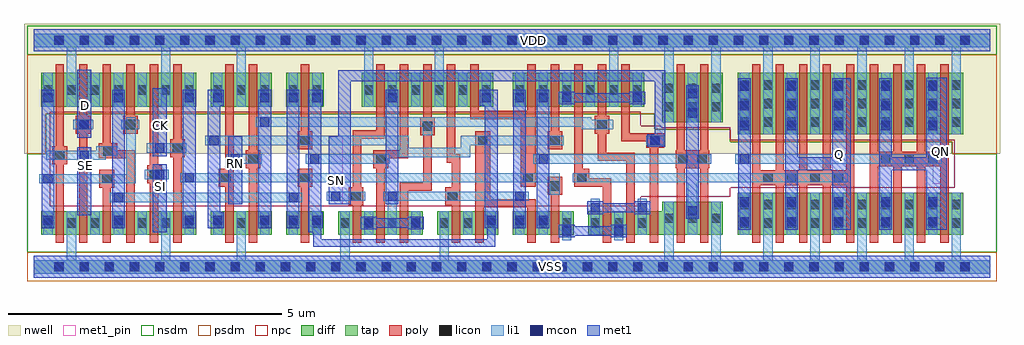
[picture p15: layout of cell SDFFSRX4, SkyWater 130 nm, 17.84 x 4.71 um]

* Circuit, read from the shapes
.subckt SDFFSRX4 CK D Q QN RN SE SI SN VDD VSS
XM1 VSS SE n1 VSS sky130_fd_pr__nfet_01v8 w=0.425 l=0.15
XM2 n2 D VSS VSS sky130_fd_pr__nfet_01v8 w=0.425 l=0.15
XM3 n3 n1 n2 VSS sky130_fd_pr__nfet_01v8 w=0.425 l=0.15
XM4 n4 SE n3 VSS sky130_fd_pr__nfet_01v8 w=0.425 l=0.15
XM5 VSS SI n4 VSS sky130_fd_pr__nfet_01v8 w=0.425 l=0.15
XM6 n5 CK VSS VSS sky130_fd_pr__nfet_01v8 w=0.425 l=0.15
XM7 VSS n5 n6 VSS sky130_fd_pr__nfet_01v8 w=0.425 l=0.15
XM8 n7 RN VSS VSS sky130_fd_pr__nfet_01v8 w=0.425 l=0.15
XM9 n8 n5 n3 VSS sky130_fd_pr__nfet_01v8 w=0.425 l=0.15
XM10 n9 SN VSS VSS sky130_fd_pr__nfet_01v8 w=0.425 l=0.15
XM11 n10 n8 n9 VSS sky130_fd_pr__nfet_01v8 w=0.425 l=0.15
XM12 n9 n7 n10 VSS sky130_fd_pr__nfet_01v8 w=0.425 l=0.15
XM13 n11 n10 VSS VSS sky130_fd_pr__nfet_01v8 w=0.425 l=0.15
XM14 n8 n6 n11 VSS sky130_fd_pr__nfet_01v8 w=0.425 l=0.15
XM15 n12 n6 n10 VSS sky130_fd_pr__nfet_01v8 w=0.425 l=0.15
XM16 n13 n5 n12 VSS sky130_fd_pr__nfet_01v8 w=0.425 l=0.15
XM17 n13 n14 n15 VSS sky130_fd_pr__nfet_01v8 w=0.425 l=0.15
XM18 n15 n7 n13 VSS sky130_fd_pr__nfet_01v8 w=0.425 l=0.15
XM19 VSS SN n15 VSS sky130_fd_pr__nfet_01v8 w=0.425 l=0.15
XM20 n14 n12 VSS VSS sky130_fd_pr__nfet_01v8 w=0.6 l=0.15 m=2
XM21 VSS n14 n16 VSS sky130_fd_pr__nfet_01v8 w=0.76 l=0.15
XM22 Q n14 VSS VSS sky130_fd_pr__nfet_01v8 w=0.76 l=0.15 m=4
XM23 QN n16 VSS VSS sky130_fd_pr__nfet_01v8 w=0.76 l=0.15 m=4
XM24 VDD SE n1 VDD sky130_fd_pr__pfet_01v8 w=0.625 l=0.15
XM25 n17 D VDD VDD sky130_fd_pr__pfet_01v8 w=0.625 l=0.15
XM26 n3 SE n17 VDD sky130_fd_pr__pfet_01v8 w=0.625 l=0.15
XM27 n18 n1 n3 VDD sky130_fd_pr__pfet_01v8 w=0.625 l=0.15
XM28 VDD SI n18 VDD sky130_fd_pr__pfet_01v8 w=0.625 l=0.15
XM29 n5 CK VDD VDD sky130_fd_pr__pfet_01v8 w=0.625 l=0.15
XM30 VDD n5 n6 VDD sky130_fd_pr__pfet_01v8 w=0.625 l=0.15
XM31 n7 RN VDD VDD sky130_fd_pr__pfet_01v8 w=0.625 l=0.15
XM32 n8 n6 n3 VDD sky130_fd_pr__pfet_01v8 w=0.625 l=0.15
XM33 n10 SN VDD VDD sky130_fd_pr__pfet_01v8 w=0.625 l=0.15
XM34 n19 n8 n10 VDD sky130_fd_pr__pfet_01v8 w=0.625 l=0.15
XM35 VDD n7 n19 VDD sky130_fd_pr__pfet_01v8 w=0.625 l=0.15
XM36 n20 n10 VDD VDD sky130_fd_pr__pfet_01v8 w=0.625 l=0.15
XM37 n8 n5 n20 VDD sky130_fd_pr__pfet_01v8 w=0.625 l=0.15
XM38 n12 n5 n10 VDD sky130_fd_pr__pfet_01v8 w=0.625 l=0.15
XM39 n21 n6 n12 VDD sky130_fd_pr__pfet_01v8 w=0.625 l=0.15
XM40 n22 n14 n21 VDD sky130_fd_pr__pfet_01v8 w=0.625 l=0.15
XM41 VDD n7 n22 VDD sky130_fd_pr__pfet_01v8 w=0.625 l=0.15
XM42 n21 SN VDD VDD sky130_fd_pr__pfet_01v8 w=0.625 l=0.15
XM43 n14 n12 VDD VDD sky130_fd_pr__pfet_01v8 w=0.905 l=0.15 m=2
XM44 VDD n14 n16 VDD sky130_fd_pr__pfet_01v8 w=1.13 l=0.15
XM45 Q n14 VDD VDD sky130_fd_pr__pfet_01v8 w=1.13 l=0.15 m=4
XM46 QN n16 VDD VDD sky130_fd_pr__pfet_01v8 w=1.13 l=0.15 m=4
.ends

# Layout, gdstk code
from math import pi, radians
import gdstk
lib = gdstk.Library(unit=1e-6, precision=1e-09)
def R(c, l, rs):  # rectangles x0, y0, x1, y1
    for r in rs: c.add(gdstk.rectangle(r[:2], r[2:], *l))
def A(c, l, x, y, w, h, nx, ny, dx, dy):  # array of equal rectangles
    R(c, l, [(x+i*dx, y+j*dy, x+i*dx+w, y+j*dy+h) for i in range(nx) for j in range(ny)])
def P(c, l, *ps):  # polygons
    for p in ps: c.add(gdstk.Polygon(p, *l))
nwell = (64, 20)
diff = (65, 20)
tap = (65, 44)
poly = (66, 20)
licon = (66, 44)
li1 = (67, 20)
mcon = (67, 44)
met1_pin = (68, 16)
met1 = (68, 20)
nsdm = (93, 44)
psdm = (94, 20)
npc = (95, 20)

pyl1con_c_cdns_758728262 = lib.new_cell('PYL1CON_C_CDNS_758728262102')
R(pyl1con_c_cdns_758728262, poly, [(-0.135,-0.165,0.135,0.165)])
R(pyl1con_c_cdns_758728262, licon, [(-0.085,-0.085,0.085,0.085)])
R(pyl1con_c_cdns_758728262, npc, [(-0.185,-0.185,0.185,0.185)])

l1m1_c_cdns_758728262101 = lib.new_cell('L1M1_C_CDNS_7587282621012')
R(l1m1_c_cdns_758728262101, li1, [(-0.085,-0.525,0.085,0.525)])
A(l1m1_c_cdns_758728262101, mcon, -0.085, -0.445, 0.17, 0.17, 1, 3, 0, 0.36)
R(l1m1_c_cdns_758728262101, met1, [(-0.115,-0.505,0.115,0.505)])

c_l1m1_c_cdns_758728262101 = lib.new_cell('L1M1_C_CDNS_758728262101')
R(c_l1m1_c_cdns_758728262101, li1, [(-0.085,-0.165,0.085,0.165)])
R(c_l1m1_c_cdns_758728262101, mcon, [(-0.085,-0.085,0.085,0.085)])
R(c_l1m1_c_cdns_758728262101, met1, [(-0.115,-0.145,0.115,0.145)])

l1m1_c_cdns_758728262104 = lib.new_cell('L1M1_C_CDNS_758728262104')
R(l1m1_c_cdns_758728262104, li1, [(-0.085,-0.345,0.085,0.345)])
R(l1m1_c_cdns_758728262104, mcon, [(-0.085,-0.265,0.085,-0.095), (-0.085,0.095,0.085,0.265)])
R(l1m1_c_cdns_758728262104, met1, [(-0.115,-0.325,0.115,0.325)])

l1m1_c_cdns_758728262100 = lib.new_cell('L1M1_C_CDNS_758728262100')
R(l1m1_c_cdns_758728262100, li1, [(-0.165,-0.085,0.165,0.085)])
R(l1m1_c_cdns_758728262100, mcon, [(-0.085,-0.085,0.085,0.085)])
R(l1m1_c_cdns_758728262100, met1, [(-0.115,-0.145,0.115,0.145)])

l1m1_c_cdns_758728262103 = lib.new_cell('L1M1_C_CDNS_758728262103')
R(l1m1_c_cdns_758728262103, li1, [(-0.085,-0.165,0.085,0.165)])
R(l1m1_c_cdns_758728262103, mcon, [(-0.085,-0.085,0.085,0.085)])
R(l1m1_c_cdns_758728262103, met1, [(-0.145,-0.115,0.145,0.115)])

c_pyl1con_c_cdns_758728262 = lib.new_cell('PYL1CON_C_CDNS_7587282621015')
R(c_pyl1con_c_cdns_758728262, poly, [(-0.165,-0.135,0.165,0.135)])
R(c_pyl1con_c_cdns_758728262, licon, [(-0.085,-0.085,0.085,0.085)])
R(c_pyl1con_c_cdns_758728262, npc, [(-0.185,-0.185,0.185,0.185)])

licondiff_c_cdns_7587282 = lib.new_cell('LICONDIFF_C_CDNS_7587282621010')
R(licondiff_c_cdns_7587282, diff, [(-0.125,-0.145,0.125,0.145)])
R(licondiff_c_cdns_7587282, licon, [(-0.085,-0.085,0.085,0.085), (-0.085,-0.085,0.085,0.085)])

sdffsrx4 = lib.new_cell('SDFFSRX4')
R(sdffsrx4, nwell, [(-0.18,2.07,17.66,4.445)])
R(sdffsrx4, diff, [(0.135,0.59,2.965,1.015), (3.235,0.59,4.345,1.015), (4.615,0.59,5.295,1.015), (5.565,0.59,7.105,1.015), (7.375,0.59,8.485,1.015), (8.755,0.59,9.865,1.015), (12.865,0.59,16.985,1.35), (12.865,2.42,16.985,3.55), (11.485,2.645,12.595,3.55), (0.135,2.925,2.965,3.55), (3.235,2.925,4.345,3.55), (4.615,2.925,5.295,3.55), (5.995,2.925,8.395,3.55), (8.755,2.925,11.155,3.55)])
P(sdffsrx4, diff, [(12.595,1.19),(11.485,1.19),(11.485,1.015),(10.135,1.015),(10.135,0.59),(12.595,0.59)])
A(sdffsrx4, poly, 13.13, 0.44, 0.15, 3.26, 9, 1, 0.43, 0)
R(sdffsrx4, poly, [(0.4,0.44,0.55,3.7), (0.83,0.44,0.98,3.7), (1.26,0.44,1.41,1.705), (2.12,0.44,2.27,3.7), (2.55,0.44,2.7,3.7), (3.5,0.44,3.65,3.7), (3.93,0.44,4.08,3.7), (4.88,0.44,5.03,1.795), (9.45,0.44,9.6,1.345), (9.45,2.145,9.6,3.7), (4.88,2.16,5.03,3.7), (1.69,2.475,1.84,3.7)])
P(sdffsrx4, poly, [(1.84,2.135),(1.41,2.135),(1.41,3.7),(1.26,3.7),(1.26,1.985),(1.69,1.985),(1.69,0.44),(1.84,0.44)],
  [(6.41,3.7),(6.26,3.7),(6.26,2.495),(5.83,2.495),(5.83,0.44),(5.98,0.44),(5.98,2.345),(6.41,2.345)],
  [(6.84,3.7),(6.69,3.7),(6.69,2.135),(6.26,2.135),(6.26,0.44),(6.41,0.44),(6.41,1.985),(6.84,1.985)],
  [(7.27,3.7),(7.12,3.7),(7.12,1.545),(6.69,1.545),(6.69,0.44),(6.84,0.44),(6.84,1.395),(7.27,1.395)],
  [(7.79,2.055),(7.7,2.055),(7.7,3.7),(7.55,3.7),(7.55,1.905),(7.64,1.905),(7.64,0.44),(7.79,0.44)],
  [(9.17,3.7),(9.02,3.7),(9.02,2.85),(8.13,2.85),(8.13,3.7),(7.98,3.7),(7.98,2.7),(8.9,2.7),(8.9,1.465),(9.17,1.465)],
  [(9.17,1.24),(8.34,1.24),(8.34,2.475),(8.07,2.475),(8.07,0.44),(8.22,0.44),(8.22,1.09),(9.02,1.09),(9.02,0.44),(9.17,0.44)],
  [(10.55,1.615),(10.03,1.615),(10.03,3.7),(9.88,3.7),(9.88,1.465),(10.4,1.465),(10.4,0.44),(10.55,0.44)],
  [(10.98,2.085),(10.46,2.085),(10.46,3.7),(10.31,3.7),(10.31,1.935),(10.83,1.935),(10.83,0.44),(10.98,0.44)],
  [(11.41,2.445),(10.89,2.445),(10.89,3.7),(10.74,3.7),(10.74,2.295),(11.26,2.295),(11.26,0.44),(11.41,0.44)],
  [(12.35,2.135),(12.33,2.135),(12.33,3.7),(12.18,3.7),(12.18,2.135),(11.9,2.135),(11.9,3.7),(11.75,3.7),(11.75,2.135),(11.73,2.135),(11.73,1.805),(11.75,1.805),(11.75,0.44),(11.9,0.44),(11.9,1.805),(12.18,1.805),(12.18,0.44),(12.33,0.44),(12.33,1.805),(12.35,1.805)])
A(sdffsrx4, licon, 0.375, -0.085, 0.17, 0.17, 37, 2, 0.46, 4.14)
A(sdffsrx4, licon, 0.605, 0.715, 0.17, 0.17, 3, 2, 0.86, 2.435)
A(sdffsrx4, licon, 3.275, 0.715, 0.17, 0.17, 3, 2, 0.43, 2.435)
A(sdffsrx4, licon, 5.605, 0.715, 0.17, 0.17, 4, 1, 0.43, 0)
A(sdffsrx4, licon, 8.795, 0.715, 0.17, 0.17, 3, 2, 0.43, 2.435)
A(sdffsrx4, licon, 10.175, 0.715, 0.17, 0.17, 3, 1, 0.43, 0)
A(sdffsrx4, licon, 12.905, 0.715, 0.17, 0.17, 10, 2, 0.43, 0.34)
A(sdffsrx4, licon, 11.525, 0.805, 0.17, 0.17, 3, 2, 0.43, 2.035)
A(sdffsrx4, licon, 12.905, 2.56, 0.17, 0.17, 10, 3, 0.43, 0.34)
A(sdffsrx4, licon, 6.465, 3.15, 0.17, 0.17, 3, 1, 0.86, 0)
A(sdffsrx4, licon, 11.525, 3.18, 0.17, 0.17, 3, 1, 0.43, 0)
R(sdffsrx4, licon, [(0.175,0.715,0.345,0.885), (2.755,0.715,2.925,0.885), (4.655,0.715,4.825,0.885), (5.085,0.715,5.255,0.885), (7.415,0.715,7.585,0.885), (8.275,0.715,8.445,0.885), (0.175,3.15,0.345,3.32), (2.755,3.15,2.925,3.32), (4.655,3.15,4.825,3.32), (5.085,3.15,5.255,3.32), (6.035,3.15,6.205,3.32), (10.515,3.15,10.685,3.32), (10.945,3.15,11.115,3.32)])
A(sdffsrx4, li1, 0.175, 0.59, 0.17, 0.425, 3, 1, 1.29, 0)
A(sdffsrx4, li1, 8.795, 0.59, 0.17, 0.425, 3, 1, 0.43, 0)
A(sdffsrx4, li1, 10.175, 0.59, 0.17, 0.425, 3, 1, 0.43, 0)
A(sdffsrx4, li1, 12.905, 0.59, 0.17, 0.76, 5, 1, 0.86, 0)
A(sdffsrx4, li1, 12.905, 2.42, 0.17, 1.13, 5, 1, 0.86, 0)
A(sdffsrx4, li1, 0.175, 2.925, 0.17, 0.625, 3, 1, 1.29, 0)
A(sdffsrx4, li1, 8.795, 2.925, 0.17, 0.625, 3, 1, 0.43, 0)
R(sdffsrx4, li1, [(3.275,0.59,3.445,1.015), (4.135,0.59,4.305,1.015), (4.655,0.59,4.825,1.015), (5.085,0.59,5.255,1.015), (6.035,0.59,6.205,1.015), (6.895,0.59,7.065,1.015), (8.275,0.59,8.445,1.015), (2.065,2.085,2.79,2.255), (11.955,2.645,12.125,3.55), (3.275,2.925,3.445,3.55), (4.135,2.925,4.305,3.55), (4.655,2.925,4.825,3.55), (5.085,2.925,5.255,3.55), (6.465,2.925,6.635,3.55), (8.185,2.925,8.355,3.55), (10.945,2.925,11.115,3.55)])
P(sdffsrx4, li1, [(1.52,2.205),(1.14,2.205),(1.14,2.125),(0.23,2.125),(0.23,1.955),(1.31,1.955),(1.31,2.035),(1.52,2.035)],
  [(1.93,2.685),(1.86,2.685),(1.86,2.735),(1.69,2.735),(1.69,2.685),(1.6,2.685),(1.6,2.515),(1.69,2.515),(1.69,1.695),(0.26,1.695),(0.26,1.525),(1.86,1.525),(1.86,2.515),(1.93,2.515)],
  [(9.045,1.375),(6.385,1.375),(6.385,1.205),(6.465,1.205),(6.465,0.59),(6.635,0.59),(6.635,1.205),(9.045,1.205)],
  [(9.61,1.715),(2.675,1.715),(2.675,1.545),(9.44,1.545),(9.44,1.315),(9.61,1.315)],
  [(10.59,2.685),(10.185,2.685),(10.185,2.735),(4.22,2.735),(4.22,2.565),(7.11,2.565),(7.11,2.405),(7.28,2.405),(7.28,2.565),(10.015,2.565),(10.015,2.515),(10.59,2.515)],
  [(14.875,1.715),(9.85,1.715),(9.85,1.545),(11.955,1.545),(11.955,0.59),(12.125,0.59),(12.125,1.545),(14.875,1.545)],
  [(17.48,4.265),(0,4.265),(0,4.015),(0.605,4.015),(0.605,2.925),(0.775,2.925),(0.775,4.015),(2.325,4.015),(2.325,2.925),(2.495,2.925),(2.495,4.015),(3.705,4.015),(3.705,2.925),(3.875,2.925),(3.875,4.015),(6.035,4.015),(6.035,2.925),(6.205,2.925),(6.205,4.015),(7.325,4.015),(7.325,2.925),(7.495,2.925),(7.495,4.015),(10.515,4.015),(10.515,2.925),(10.685,2.925),(10.685,4.015),(11.525,4.015),(11.525,2.645),(11.695,2.645),(11.695,4.015),(12.385,4.015),(12.385,2.645),(12.555,2.645),(12.555,4.015),(13.335,4.015),(13.335,2.42),(13.505,2.42),(13.505,4.015),(14.195,4.015),(14.195,2.42),(14.365,2.42),(14.365,4.015),(15.055,4.015),(15.055,2.42),(15.225,2.42),(15.225,4.015),(15.915,4.015),(15.915,2.42),(16.085,2.42),(16.085,4.015),(16.775,4.015),(16.775,2.42),(16.945,2.42),(16.945,4.015),(17.48,4.015)],
  [(17.48,0.125),(16.945,0.125),(16.945,1.35),(16.775,1.35),(16.775,0.125),(16.085,0.125),(16.085,1.35),(15.915,1.35),(15.915,0.125),(15.225,0.125),(15.225,1.35),(15.055,1.35),(15.055,0.125),(14.365,0.125),(14.365,1.35),(14.195,1.35),(14.195,0.125),(13.505,0.125),(13.505,1.35),(13.335,1.35),(13.335,0.125),(12.555,0.125),(12.555,1.19),(12.385,1.19),(12.385,0.125),(11.695,0.125),(11.695,1.19),(11.525,1.19),(11.525,0.125),(7.585,0.125),(7.585,1.015),(7.415,1.015),(7.415,0.125),(5.775,0.125),(5.775,1.015),(5.605,1.015),(5.605,0.125),(3.875,0.125),(3.875,1.015),(3.705,1.015),(3.705,0.125),(2.495,0.125),(2.495,1.015),(2.325,1.015),(2.325,0.125),(0.775,0.125),(0.775,1.015),(0.605,1.015),(0.605,0.125),(0,0.125),(0,-0.125),(17.48,-0.125)])
A(sdffsrx4, mcon, 0.375, -0.085, 0.17, 0.17, 37, 2, 0.46, 4.14)
R(sdffsrx4, met1_pin, [(2.17,0.635,2.43,1.875), (0.79,0.945,1.05,2.185), (3.55,1.145,3.81,2.385), (5.39,1.145,5.65,2.385), (14.59,1.46,14.85,2.7), (16.43,1.52,16.69,2.76), (2.17,2.02,2.43,3.26), (0.79,2.36,1.05,3.6)])
P(sdffsrx4, met1, [(8.475,3.235),(8.245,3.235),(8.245,0.705),(8.29,0.705),(8.29,0.505),(5.25,0.505),(5.25,3.235),(5.02,3.235),(5.02,0.635),(5.11,0.635),(5.11,0.365),(8.43,0.365),(8.43,0.705),(8.475,0.705)],
  [(11.545,3.59),(5.56,3.59),(5.56,2.385),(5.39,2.385),(5.39,1.145),(5.79,1.145),(5.79,3.39),(11.345,3.39),(11.345,2.195),(11.545,2.195)],
  [(14.935,3.45),(14.59,3.45),(14.59,2),(13.965,2),(13.965,3.45),(13.735,3.45),(13.735,0.68),(13.965,0.68),(13.965,1.77),(14.59,1.77),(14.59,0.68),(14.935,0.68)],
  [(16.69,3.455),(16.315,3.455),(16.315,2),(15.685,2),(15.685,3.45),(15.455,3.45),(15.455,0.68),(15.685,0.68),(15.685,1.77),(16.315,1.77),(16.315,0.68),(16.69,0.68)])
R(sdffsrx4, nsdm, [(-0.125,3.875,17.605,4.405)])
P(sdffsrx4, nsdm, [(17.605,2.07),(16.785,2.07),(16.785,2.29),(12.725,2.29),(12.725,2.515),(11.345,2.515),(11.345,2.795),(0.22,2.795),(0.22,2.07),(-0.125,2.07),(-0.125,0.265),(17.605,0.265)])
R(sdffsrx4, psdm, [(-0.125,-0.265,17.605,0.265)])
P(sdffsrx4, psdm, [(17.605,3.875),(-0.125,3.875),(-0.125,2.07),(0.22,2.07),(0.22,2.795),(11.345,2.795),(11.345,2.515),(12.725,2.515),(12.725,2.29),(16.785,2.29),(16.785,2.07),(17.605,2.07)])
P(sdffsrx4, npc, [(16.83,2.325),(12.725,2.325),(12.725,2.55),(11.46,2.55),(11.46,2.575),(11.09,2.575),(11.09,2.835),(0.29,2.835),(0.29,1.11),(11.09,1.11),(11.09,1.285),(12.725,1.285),(12.725,1.445),(16.83,1.445)])
sdffsrx4.add(gdstk.FlexPath([(0.92,2.6),(0.72,2.6)], 0.17, ends="flush", simple_path=True, layer=67, datatype=20))  # li1
sdffsrx4.add(gdstk.FlexPath([(2.3,1.69),(2.03,1.69)], 0.17, ends="flush", simple_path=True, layer=67, datatype=20))  # li1
sdffsrx4.add(gdstk.FlexPath([(9.69,2.31),(7.89,2.31),(7.89,2.09),(6.765,2.09),(6.765,2.31),(3.425,2.31)], 0.17, ends="flush", simple_path=True, layer=67, datatype=20))  # li1
sdffsrx4.add(gdstk.FlexPath([(1.12,2.925),(1.12,3.55)], 0.17, ends="flush", simple_path=True, layer=67, datatype=20))  # li1
sdffsrx4.add(gdstk.FlexPath([(1.385,1.27),(4.905,1.27)], 0.17, ends="flush", simple_path=True, layer=67, datatype=20))  # li1
sdffsrx4.add(gdstk.FlexPath([(6.98,2.925),(6.98,3.55)], 0.17, ends="flush", simple_path=True, layer=67, datatype=20))  # li1
sdffsrx4.add(gdstk.FlexPath([(7.84,2.925),(7.84,3.55)], 0.17, ends="flush", simple_path=True, layer=67, datatype=20))  # li1
sdffsrx4.add(gdstk.FlexPath([(9.125,1.97),(12.38,1.97)], 0.17, ends="flush", simple_path=True, layer=67, datatype=20))  # li1
sdffsrx4.add(gdstk.FlexPath([(1.98,2.925),(1.98,3.55)], 0.17, ends="flush", simple_path=True, layer=67, datatype=20))  # li1
sdffsrx4.add(gdstk.FlexPath([(5.17,1.97),(6.505,1.97)], 0.17, ends="flush", simple_path=True, layer=67, datatype=20))  # li1
sdffsrx4.add(gdstk.FlexPath([(12.99,1.97),(16.595,1.97)], 0.17, ends="flush", simple_path=True, layer=67, datatype=20))  # li1
sdffsrx4.add(gdstk.FlexPath([(10.17,2.925),(10.17,3.55)], 0.17, ends="flush", simple_path=True, layer=67, datatype=20))  # li1
sdffsrx4.add(gdstk.FlexPath([(1.12,0.59),(1.12,1.015)], 0.17, ends="flush", simple_path=True, layer=67, datatype=20))  # li1
sdffsrx4.add(gdstk.FlexPath([(1.98,0.59),(1.98,1.015)], 0.17, ends="flush", simple_path=True, layer=67, datatype=20))  # li1
sdffsrx4.add(gdstk.FlexPath([(7.93,0.59),(7.93,1.015)], 0.17, ends="flush", simple_path=True, layer=67, datatype=20))  # li1
sdffsrx4.add(gdstk.FlexPath([(4.17,1.97),(3.625,1.97)], 0.17, ends="flush", simple_path=True, layer=67, datatype=20))  # li1
sdffsrx4.add(gdstk.FlexPath([(6.055,1.29),(5.51,1.29)], 0.17, ends="flush", simple_path=True, layer=67, datatype=20))  # li1
sdffsrx4.add(gdstk.FlexPath([(0,0),(17.48,0)], 0.4, ends="flush", simple_path=True, layer=68, datatype=20))  # met1
sdffsrx4.add(gdstk.FlexPath([(0,4.14),(17.48,4.14)], 0.4, ends="flush", simple_path=True, layer=68, datatype=20))  # met1
sdffsrx4.add(gdstk.FlexPath([(3.68,1.145),(3.68,2.385)], 0.26, ends="flush", simple_path=True, layer=68, datatype=20))  # met1
sdffsrx4.add(gdstk.FlexPath([(2.3,2.02),(2.3,3.26)], 0.26, ends="flush", simple_path=True, layer=68, datatype=20))  # met1
sdffsrx4.add(gdstk.FlexPath([(0.92,2.36),(0.92,3.6)], 0.26, ends="flush", simple_path=True, layer=68, datatype=20))  # met1
sdffsrx4.add(gdstk.FlexPath([(2.84,0.705),(2.84,3.235)], 0.23, ends="flush", simple_path=True, layer=68, datatype=20))  # met1
sdffsrx4.add(gdstk.FlexPath([(1.55,0.705),(1.55,3.235)], 0.23, ends="flush", simple_path=True, layer=68, datatype=20))  # met1
sdffsrx4.add(gdstk.FlexPath([(4.74,0.705),(4.74,3.235)], 0.23, ends="flush", simple_path=True, layer=68, datatype=20))  # met1
sdffsrx4.add(gdstk.FlexPath([(12.99,0.68),(12.99,3.45)], 0.23, ends="flush", simple_path=True, layer=68, datatype=20))  # met1
sdffsrx4.add(gdstk.FlexPath([(12.04,0.88),(12.04,3.315)], 0.23, ends="flush", simple_path=True, layer=68, datatype=20))  # met1
sdffsrx4.add(gdstk.FlexPath([(9.31,0.705),(9.31,3.235)], 0.23, ends="flush", simple_path=True, layer=68, datatype=20))  # met1
sdffsrx4.add(gdstk.FlexPath([(8.88,0.705),(8.88,3.235)], 0.23, ends="flush", simple_path=True, layer=68, datatype=20))  # met1
sdffsrx4.add(gdstk.FlexPath([(3.295,0.705),(3.295,3.235)], 0.23, ends="flush", simple_path=True, layer=68, datatype=20))  # met1
sdffsrx4.add(gdstk.FlexPath([(4.22,0.705),(4.22,3.235)], 0.23, ends="flush", simple_path=True, layer=68, datatype=20))  # met1
sdffsrx4.add(gdstk.FlexPath([(0.26,0.705),(0.26,3.235)], 0.23, ends="flush", simple_path=True, layer=68, datatype=20))  # met1
sdffsrx4.add(gdstk.FlexPath([(9.595,0.655),(10.835,0.655)], 0.17, ends="flush", simple_path=True, layer=68, datatype=20))  # met1
sdffsrx4.add(gdstk.FlexPath([(9.595,3.09),(11.175,3.09)], 0.17, ends="flush", simple_path=True, layer=68, datatype=20))  # met1
sdffsrx4.add(gdstk.FlexPath([(10.115,1.08),(11.265,1.08)], 0.17, ends="flush", simple_path=True, layer=68, datatype=20))  # met1
sdffsrx4.add(gdstk.FlexPath([(6.55,1.145),(6.55,3.235)], 0.23, ends="flush", simple_path=True, layer=68, datatype=20))  # met1
sdffsrx4.add(gdstk.FlexPath([(5.975,0.8),(7.125,0.8)], 0.17, ends="flush", simple_path=True, layer=68, datatype=20))  # met1
sdffsrx4.add(gdstk.FlexPath([(2.3,0.635),(2.3,1.875)], 0.26, ends="flush", simple_path=True, layer=68, datatype=20))  # met1
sdffsrx4.add(gdstk.FlexPath([(0.92,0.945),(0.92,2.185)], 0.26, ends="flush", simple_path=True, layer=68, datatype=20))  # met1
sdffsrx4.add(gdstk.FlexPath([(0,4.14),(17.48,4.14)], 0.4, ends="flush", simple_path=True, layer=68, datatype=16))  # met1_pin
sdffsrx4.add(gdstk.FlexPath([(0,0),(17.48,0)], 0.4, ends="flush", simple_path=True, layer=68, datatype=16))  # met1_pin
sdffsrx4.add(gdstk.FlexPath([(0,4.14),(17.48,4.14)], 0.25, ends="flush", simple_path=True, layer=65, datatype=44))  # tap
sdffsrx4.add(gdstk.FlexPath([(0,0),(17.48,0)], 0.25, ends="flush", simple_path=True, layer=65, datatype=44))  # tap
sdffsrx4.add(gdstk.Reference(pyl1con_c_cdns_758728262, (15.57,1.97), rotation=3*pi/2, x_reflection=True))
sdffsrx4.add(gdstk.Reference(pyl1con_c_cdns_758728262, (16,1.97), rotation=3*pi/2, x_reflection=True))
sdffsrx4.add(gdstk.Reference(pyl1con_c_cdns_758728262, (14.71,1.63), rotation=3*pi/2, x_reflection=True))
sdffsrx4.add(gdstk.Reference(pyl1con_c_cdns_758728262, (14.28,1.63), rotation=3*pi/2, x_reflection=True))
sdffsrx4.add(gdstk.Reference(pyl1con_c_cdns_758728262, (13.85,1.63), rotation=3*pi/2, x_reflection=True))
sdffsrx4.add(gdstk.Reference(pyl1con_c_cdns_758728262, (5.89,1.29), x_reflection=True))
sdffsrx4.add(gdstk.Reference(pyl1con_c_cdns_758728262, (4.005,1.97), x_reflection=True))
sdffsrx4.add(gdstk.Reference(pyl1con_c_cdns_758728262, (0.905,2.6), x_reflection=True))
sdffsrx4.add(gdstk.Reference(pyl1con_c_cdns_758728262, (2.625,2.17), x_reflection=True))
sdffsrx4.add(gdstk.Reference(pyl1con_c_cdns_758728262, (2.205,1.69), x_reflection=True))
sdffsrx4.add(gdstk.Reference(pyl1con_c_cdns_758728262, (16.43,1.97), rotation=3*pi/2, x_reflection=True))
sdffsrx4.add(gdstk.Reference(pyl1con_c_cdns_758728262, (0.475,2.04)))
sdffsrx4.add(gdstk.Reference(pyl1con_c_cdns_758728262, (1.355,2.12), rotation=pi/2))
sdffsrx4.add(gdstk.Reference(pyl1con_c_cdns_758728262, (10.385,2.6)))
sdffsrx4.add(gdstk.Reference(pyl1con_c_cdns_758728262, (7.195,2.57)))
sdffsrx4.add(gdstk.Reference(pyl1con_c_cdns_758728262, (6.34,1.97)))
sdffsrx4.add(gdstk.Reference(pyl1con_c_cdns_758728262, (12.215,1.97), rotation=pi, x_reflection=True))
sdffsrx4.add(gdstk.Reference(pyl1con_c_cdns_758728262, (11.865,1.97), rotation=pi, x_reflection=True))
sdffsrx4.add(gdstk.Reference(pyl1con_c_cdns_758728262, (9.035,1.63), x_reflection=True))
sdffsrx4.add(gdstk.Reference(pyl1con_c_cdns_758728262, (9.525,1.48)))
sdffsrx4.add(gdstk.Reference(pyl1con_c_cdns_758728262, (3.515,1.63)))
sdffsrx4.add(gdstk.Reference(pyl1con_c_cdns_758728262, (4.955,1.63)))
sdffsrx4.add(gdstk.Reference(pyl1con_c_cdns_758728262, (9.525,2.31)))
sdffsrx4.add(gdstk.Reference(pyl1con_c_cdns_758728262, (4.955,2.31)))
sdffsrx4.add(gdstk.Reference(pyl1con_c_cdns_758728262, (8.205,2.31)))
sdffsrx4.add(gdstk.Reference(pyl1con_c_cdns_758728262, (7.655,1.29)))
sdffsrx4.add(gdstk.Reference(pyl1con_c_cdns_758728262, (10.015,1.63), rotation=pi, x_reflection=True))
sdffsrx4.add(gdstk.Reference(pyl1con_c_cdns_758728262, (13.42,1.63), rotation=3*pi/2, x_reflection=True))
sdffsrx4.add(gdstk.Reference(pyl1con_c_cdns_758728262, (1.765,2.6), x_reflection=True))
sdffsrx4.add(gdstk.Reference(pyl1con_c_cdns_758728262, (1.335,1.61)))
sdffsrx4.add(gdstk.Reference(l1m1_c_cdns_758728262101, (15.57,2.945)))
sdffsrx4.add(gdstk.Reference(l1m1_c_cdns_758728262101, (16.43,2.945)))
sdffsrx4.add(gdstk.Reference(l1m1_c_cdns_758728262101, (12.99,2.945)))
sdffsrx4.add(gdstk.Reference(l1m1_c_cdns_758728262101, (14.71,2.945)))
sdffsrx4.add(gdstk.Reference(l1m1_c_cdns_758728262101, (13.85,2.945)))
sdffsrx4.add(gdstk.Reference(c_l1m1_c_cdns_758728262101, (0.26,3.09)))
sdffsrx4.add(gdstk.Reference(c_l1m1_c_cdns_758728262101, (0.26,0.85)))
sdffsrx4.add(gdstk.Reference(c_l1m1_c_cdns_758728262101, (11.355,2.31), rotation=pi/2))
sdffsrx4.add(gdstk.Reference(c_l1m1_c_cdns_758728262101, (8.36,0.85)))
sdffsrx4.add(gdstk.Reference(c_l1m1_c_cdns_758728262101, (8.27,3.09)))
sdffsrx4.add(gdstk.Reference(c_l1m1_c_cdns_758728262101, (5.17,3.09)))
sdffsrx4.add(gdstk.Reference(c_l1m1_c_cdns_758728262101, (5.17,0.85)))
sdffsrx4.add(gdstk.Reference(c_l1m1_c_cdns_758728262101, (4.22,3.09)))
sdffsrx4.add(gdstk.Reference(c_l1m1_c_cdns_758728262101, (4.22,0.85)))
sdffsrx4.add(gdstk.Reference(c_l1m1_c_cdns_758728262101, (1.55,0.85)))
sdffsrx4.add(gdstk.Reference(c_l1m1_c_cdns_758728262101, (1.55,3.09)))
sdffsrx4.add(gdstk.Reference(c_l1m1_c_cdns_758728262101, (4.74,0.85)))
sdffsrx4.add(gdstk.Reference(c_l1m1_c_cdns_758728262101, (4.74,3.09)))
sdffsrx4.add(gdstk.Reference(c_l1m1_c_cdns_758728262101, (9.31,3.09)))
sdffsrx4.add(gdstk.Reference(c_l1m1_c_cdns_758728262101, (9.31,0.85)))
sdffsrx4.add(gdstk.Reference(c_l1m1_c_cdns_758728262101, (2.84,0.85)))
sdffsrx4.add(gdstk.Reference(c_l1m1_c_cdns_758728262101, (2.84,3.09)))
sdffsrx4.add(gdstk.Reference(c_l1m1_c_cdns_758728262101, (3.36,0.85)))
sdffsrx4.add(gdstk.Reference(c_l1m1_c_cdns_758728262101, (3.36,3.09)))
sdffsrx4.add(gdstk.Reference(c_l1m1_c_cdns_758728262101, (8.88,0.85)))
sdffsrx4.add(gdstk.Reference(c_l1m1_c_cdns_758728262101, (6.55,3.09)))
sdffsrx4.add(gdstk.Reference(c_l1m1_c_cdns_758728262101, (12.04,1.025), rotation=pi, x_reflection=True))
sdffsrx4.add(gdstk.Reference(c_l1m1_c_cdns_758728262101, (8.88,3.09)))
sdffsrx4.add(gdstk.Reference(l1m1_c_cdns_758728262104, (12.04,2.99), rotation=pi, x_reflection=True))
sdffsrx4.add(gdstk.Reference(l1m1_c_cdns_758728262104, (15.57,1.005)))
sdffsrx4.add(gdstk.Reference(l1m1_c_cdns_758728262104, (16.43,1.005)))
sdffsrx4.add(gdstk.Reference(l1m1_c_cdns_758728262104, (14.71,1.005)))
sdffsrx4.add(gdstk.Reference(l1m1_c_cdns_758728262104, (13.85,1.005)))
sdffsrx4.add(gdstk.Reference(l1m1_c_cdns_758728262104, (12.99,1.005)))
sdffsrx4.add(gdstk.Reference(l1m1_c_cdns_758728262100, (5.52,1.29), x_reflection=True))
sdffsrx4.add(gdstk.Reference(l1m1_c_cdns_758728262100, (3.68,1.97), x_reflection=True))
sdffsrx4.add(gdstk.Reference(l1m1_c_cdns_758728262100, (0.92,2.04), x_reflection=True))
sdffsrx4.add(gdstk.Reference(l1m1_c_cdns_758728262100, (0.92,2.6), x_reflection=True))
sdffsrx4.add(gdstk.Reference(l1m1_c_cdns_758728262100, (2.3,2.17), x_reflection=True))
sdffsrx4.add(gdstk.Reference(l1m1_c_cdns_758728262100, (12.99,1.97)))
sdffsrx4.add(gdstk.Reference(l1m1_c_cdns_758728262100, (2.3,1.69), x_reflection=True))
sdffsrx4.add(gdstk.Reference(l1m1_c_cdns_758728262100, (0.26,1.61)))
sdffsrx4.add(gdstk.Reference(l1m1_c_cdns_758728262100, (4.22,2.65)))
sdffsrx4.add(gdstk.Reference(l1m1_c_cdns_758728262100, (5.135,1.97)))
sdffsrx4.add(gdstk.Reference(l1m1_c_cdns_758728262100, (1.55,1.27)))
sdffsrx4.add(gdstk.Reference(l1m1_c_cdns_758728262100, (4.74,1.27)))
sdffsrx4.add(gdstk.Reference(l1m1_c_cdns_758728262100, (2.84,1.63)))
sdffsrx4.add(gdstk.Reference(l1m1_c_cdns_758728262100, (3.295,2.31)))
sdffsrx4.add(gdstk.Reference(l1m1_c_cdns_758728262100, (6.55,1.29)))
sdffsrx4.add(gdstk.Reference(l1m1_c_cdns_758728262100, (8.88,1.29)))
sdffsrx4.add(gdstk.Reference(l1m1_c_cdns_758728262100, (9.31,1.97)))
sdffsrx4.add(gdstk.Reference(l1m1_c_cdns_758728262103, (6.12,0.8)))
sdffsrx4.add(gdstk.Reference(l1m1_c_cdns_758728262103, (11.12,1.08)))
sdffsrx4.add(gdstk.Reference(l1m1_c_cdns_758728262103, (10.26,1.08)))
sdffsrx4.add(gdstk.Reference(l1m1_c_cdns_758728262103, (10.69,0.655)))
sdffsrx4.add(gdstk.Reference(l1m1_c_cdns_758728262103, (9.74,0.655)))
sdffsrx4.add(gdstk.Reference(l1m1_c_cdns_758728262103, (11.03,3.09)))
sdffsrx4.add(gdstk.Reference(l1m1_c_cdns_758728262103, (9.74,3.09)))
sdffsrx4.add(gdstk.Reference(l1m1_c_cdns_758728262103, (6.98,0.8)))
sdffsrx4.add(gdstk.Reference(c_pyl1con_c_cdns_758728262, (11.355,2.31)))
sdffsrx4.add(gdstk.Reference(licondiff_c_cdns_7587282, (7.93,0.8)))
sdffsrx4.add(gdstk.Reference(licondiff_c_cdns_7587282, (1.98,0.8)))
sdffsrx4.add(gdstk.Reference(licondiff_c_cdns_7587282, (1.12,0.8)))
sdffsrx4.add(gdstk.Reference(licondiff_c_cdns_7587282, (10.17,3.235)))
sdffsrx4.add(gdstk.Reference(licondiff_c_cdns_7587282, (7.84,3.235)))
sdffsrx4.add(gdstk.Reference(licondiff_c_cdns_7587282, (6.98,3.235)))
sdffsrx4.add(gdstk.Reference(licondiff_c_cdns_7587282, (1.98,3.235)))
sdffsrx4.add(gdstk.Reference(licondiff_c_cdns_7587282, (1.12,3.235)))
sdffsrx4.add(gdstk.Label('VDD', (9.13,4.145), layer=68, texttype=5))
sdffsrx4.add(gdstk.Label('RN', (3.695,1.88), layer=68, texttype=5))
sdffsrx4.add(gdstk.Label('CK', (2.315,2.575), layer=68, texttype=5))
sdffsrx4.add(gdstk.Label('SE', (0.935,1.85), layer=68, texttype=5))
sdffsrx4.add(gdstk.Label('D', (0.935,2.955), layer=68, texttype=5))
sdffsrx4.add(gdstk.Label('SN', (5.535,1.585), layer=68, texttype=5))
sdffsrx4.add(gdstk.Label('SI', (2.315,1.465), layer=68, texttype=5))
sdffsrx4.add(gdstk.Label('Q', (14.735,2.055), layer=68, texttype=5))
sdffsrx4.add(gdstk.Label('QN', (16.575,2.115), layer=68, texttype=5))
sdffsrx4.add(gdstk.Label('VSS', (9.44,0.005), layer=68, texttype=5))

lib.write_gds('SDFFSRX4.gds')
